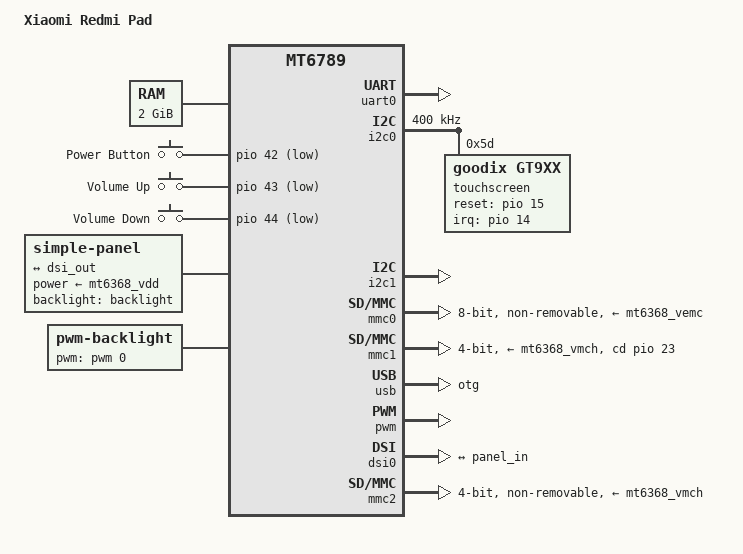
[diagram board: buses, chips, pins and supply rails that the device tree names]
// SPDX-License-Identifier: GPL-2.0
/*
 * Device Tree for Xiaomi Redmi Pad (yunluo)
 * MediaTek MT6789 (Helio G99) SoC
 *
 * Copyright (C) 2024 Yunluo Linux Project
 */

/dts-v1/;
#include "mt6789.dtsi"

/ {
	model = "Xiaomi Redmi Pad";
	compatible = "xiaomi,yunluo", "mediatek,mt6789";

	aliases {
		serial0 = &uart0;
	};

	chosen {
		stdout-path = "serial0:115200n8";
		bootargs = "console=tty0 console=ttyMT0,115200n8 root=/dev/mmcblk0p30 rootwait rw";
	};

	memory@40000000 {
		device_type = "memory";
		reg = <0 0x40000000 0 0x80000000>; /* 2GB, adjust for 3GB/4GB/6GB variants */
	};

	reserved-memory {
		#address-cells = <2>;
		#size-cells = <2>;
		ranges;

		/* Reserve memory for various subsystems */
		consys-reserve-memory {
			compatible = "mediatek,consys-reserve-memory";
			no-map;
			size = <0 0x200000>; /* 2MB for WiFi/BT */
			alignment = <0 0x200000>;
			alloc-ranges = <0 0x40000000 0 0x80000000>;
		};
	};

	gpio-keys {
		compatible = "gpio-keys";
		pinctrl-names = "default";
		pinctrl-0 = <&gpio_keys_default>;

		power {
			label = "Power Button";
			gpios = <&pio 42 1>; /* GPIO42, active low */
			linux,code = <116>; /* KEY_POWER */
			wakeup-source;
		};

		volume-up {
			label = "Volume Up";
			gpios = <&pio 43 1>; /* GPIO43, active low */
			linux,code = <115>; /* KEY_VOLUMEUP */
		};

		volume-down {
			label = "Volume Down";
			gpios = <&pio 44 1>; /* GPIO44, active low */
			linux,code = <114>; /* KEY_VOLUMEDOWN */
		};
	};

	panel {
		compatible = "simple-panel";
		power-supply = <&mt6368_vdd>;
		backlight = <&backlight>;

		port {
			panel_in: endpoint {
				remote-endpoint = <&dsi_out>;
			};
		};
	};

	backlight: backlight {
		compatible = "pwm-backlight";
		pwms = <&pwm 0 1000000>;
		brightness-levels = <0 10 20 30 40 50 60 70 80 90 100>;
		default-brightness-level = <8>;
	};
};

&uart0 {
	status = "okay";
};

&i2c0 {
	status = "okay";
	clock-frequency = <400000>;

	/* Touchscreen - device specific, needs identification */
	touchscreen@5d {
		compatible = "goodix,gt9xx";
		reg = <0x5d>;
		interrupt-parent = <&pio>;
		interrupts = <14 0x2>; /* GPIO14, falling edge */
		reset-gpios = <&pio 15 0>;
		irq-gpios = <&pio 14 0>;
	};
};

&i2c1 {
	status = "okay";
};

&mmc0 {
	status = "okay";
	bus-width = <8>;
	max-frequency = <200000000>;
	cap-mmc-highspeed;
	mmc-hs200-1_8v;
	mmc-hs400-1_8v;
	cap-mmc-hw-reset;
	no-sd;
	no-sdio;
	non-removable;
	vmmc-supply = <&mt6368_vemc>;
	vqmmc-supply = <&mt6368_vio18>;
};

&mmc1 {
	status = "okay";
	bus-width = <4>;
	max-frequency = <200000000>;
	cap-sd-highspeed;
	sd-uhs-sdr50;
	sd-uhs-sdr104;
	cd-gpios = <&pio 23 0>; /* SD card detect */
	vmmc-supply = <&mt6368_vmch>;
	vqmmc-supply = <&mt6368_vmc>;
};

&usb {
	status = "okay";
	dr_mode = "otg";
	usb-role-switch;
};

&pwm {
	status = "okay";
};

&dsi0 {
	status = "okay";
	
	port {
		dsi_out: endpoint {
			remote-endpoint = <&panel_in>;
		};
	};
};

&pio {
	gpio_keys_default: gpio_keys_default {
		pins_cmd_dat {
			pinmux = <MT6789_PIN_42_KPCOL0__FUNC_GPIO42>,
				 <MT6789_PIN_43_KPCOL1__FUNC_GPIO43>,
				 <MT6789_PIN_44_KPROW0__FUNC_GPIO44>;
			input-enable;
			bias-pull-up;
		};
	};
};

/* WiFi/BT SDIO interface */
&mmc2 {
	status = "okay";
	bus-width = <4>;
	max-frequency = <200000000>;
	cap-sd-highspeed;
	cap-sdio-irq;
	keep-power-in-suspend;
	wakeup-source;
	non-removable;
	vmmc-supply = <&mt6368_vmch>;
	vqmmc-supply = <&mt6368_vmc>;
};

/*
 * NOTE: This is a template device tree
 * 
 * The following still need to be configured:
 * - Exact GPIO pin numbers (to be determined from stock kernel)
 * - Touchscreen I2C address and compatible string
 * - Display panel specific configuration
 * - Audio codec configuration
 * - Camera configuration (optional)
 * - Sensor configuration
 * - Battery/charging configuration
 * 
 * Extract from stock device tree:
 * adb pull /sys/firmware/devicetree/base /tmp/stock-dt
 * dtc -I fs -O dts /tmp/stock-dt > stock-yunluo.dts
 */
